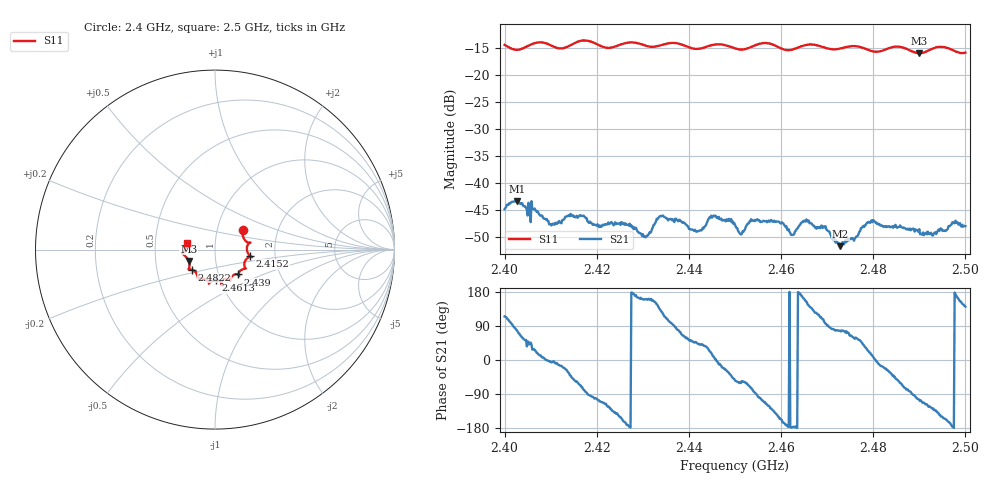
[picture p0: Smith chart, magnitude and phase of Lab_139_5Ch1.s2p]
# Hz S RI R 50
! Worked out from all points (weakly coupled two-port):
!   601 points, 2.4 GHz to 2.5 GHz, reference 50 ohm
!   highest |S21| = -43.25 dB at 2.4027 GHz (marker M1); lowest = -51.6 dB at 2.4728 GHz (marker M2)
!   lowest |S11| = -15.9 dB at 2.49 GHz (marker M3), VSWR 1.38, Z = 36.9 - j4.82 ohm
!   |S11| at or under -10 dB: start of sweep to end of sweep
!   S12 and S22 are empty: the file has one direction only
!   S11 on the Smith chart (normalised r, x): 2.4 GHz: 1.33, +0.31; 2.4152 GHz: 1.48, -0.11; 2.439 GHz: 1.24, -0.36; 2.4613 GHz: 0.96, -0.34; 2.4822 GHz: 0.76, -0.17; 2.5 GHz: 0.73, +0.05
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2.4e9  0.1555 0.1108  -0.00243 0.00524  0 0  0 0
2.402667e9  0.1584 0.0666  0.0014 0.00674  0 0  0 0
2.410167e9  0.1858 0.0309  0.00406 -0.000442  0 0  0 0
2.415167e9  0.1953 -0.0359  0.00292 -0.00397  0 0  0 0
2.416667e9  0.2048 -0.0418  0.0016 -0.00476  0 0  0 0
2.430667e9  0.1512 -0.1116  -0.00299 0.00109  0 0  0 0
2.433333e9  0.1319 -0.1325  -0.00374 0.00297  0 0  0 0
2.439e9  0.128 -0.1385  0.00199 0.00381  0 0  0 0
2.442167e9  0.0972 -0.1465  0.00272 0.00239  0 0  0 0
2.445333e9  0.0845 -0.1718  0.00496 0.000807  0 0  0 0
2.45e9  0.0688 -0.1635  0.00243 -0.00333  0 0  0 0
2.451333e9  0.053 -0.1644  0.00167 -0.00292  0 0  0 0
2.454e9  0.0349 -0.1835  0.00057 -0.00446  0 0  0 0
2.461333e9  0.00728 -0.1707  -0.0037 -0.000362  0 0  0 0
2.4625e9  -0.0101 -0.1731  -0.00332 -0.000195  0 0  0 0
2.466667e9  -0.0334 -0.1899  -0.00307 0.00291  0 0  0 0
2.472833e9  -0.0753 -0.1601  0.000575 0.00256  0 0  0 0
2.479167e9  -0.1016 -0.1364  0.0041 0.0015  0 0  0 0
2.482167e9  -0.1282 -0.1118  0.00377 -0.00125  0 0  0 0
2.483333e9  -0.1396 -0.1103  0.00351 -0.00193  0 0  0 0
2.49e9  -0.1468 -0.0637  -0.00103 -0.00362  0 0  0 0
2.5e9  -0.1583 0.0342  -0.00311 0.00253  0 0  0 0
